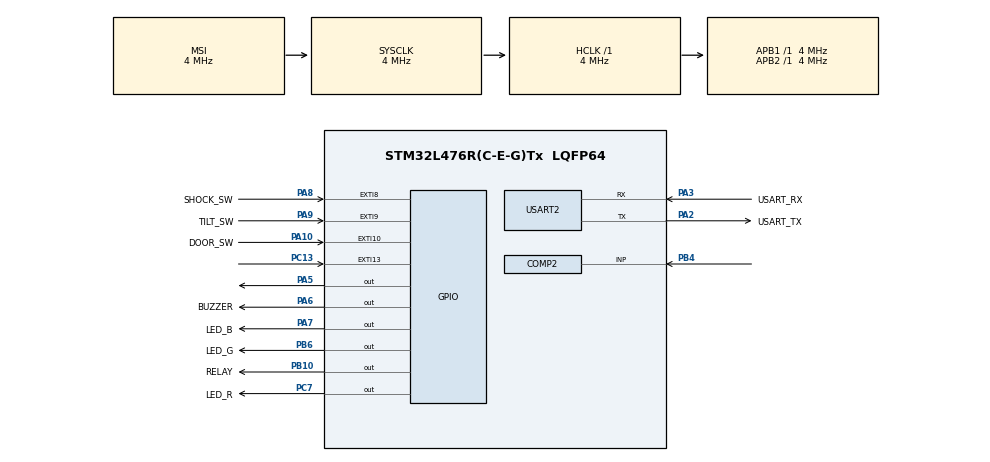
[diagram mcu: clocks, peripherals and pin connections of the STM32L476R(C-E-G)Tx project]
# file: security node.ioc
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COMP2.Hysteresis=COMP_HYSTERESIS_HIGH
COMP2.Mode=COMP_POWERMODE_ULTRALOWPOWER
COMP2.TriggerMode=COMP_TRIGGERMODE_IT_RISING_FALLING
FREERTOS.Mutexes01=uartMutex,Dynamic,NULL,Available
FREERTOS.Queues01=sensorQueue,16,uint8_t,0,Dynamic,NULL,NULL;alarmQueue,16,uint8_t,0,Dynamic,NULL,NULL
FREERTOS.Tasks01=sensorTask,24,512,StartSensorTask,Default,NULL,Dynamic,NULL,NULL;alarmTask,32,512,StartAlarmTask,Default,NULL,Dynamic,NULL,NULL;outputTask,8,256,StartOutputTask,Default,NULL,Dynamic,NULL,NULL;wdgTask,40,256,StartWdgTask,Default,NULL,Dynamic,NULL,NULL
FREERTOS.Timers01=entryTimer,EntryTimerCallback,osTimerOnce,Default,NULL,Dynamic,NULL
FREERTOS.configTOTAL_HEAP_SIZE=15360
FREERTOS.configUSE_NEWLIB_REENTRANT=1
FREERTOS.configUSE_TASK_NOTIFICATIONS=1
FREERTOS.configUSE_TICKLESS_IDLE=2
IWDG.Prescaler=IWDG_PRESCALER_64
Mcu.Family=STM32L4
Mcu.Name=STM32L476R(C-E-G)Tx
Mcu.Package=LQFP64
NUCLEO-L476RG.BUTTON=1
NUCLEO-L476RG.LD2=true
NVIC.COMP_IRQn=true\:5\:0\:false\:false\:true\:true\:false\:true\:true
NVIC.EXTI15_10_IRQn=true\:5\:0\:false\:false\:true\:true\:false\:true\:true
NVIC.EXTI9_5_IRQn=true\:5\:0\:false\:false\:true\:true\:true\:true\:true
NVIC.LPTIM1_IRQn=true\:5\:0\:false\:false\:true\:true\:true\:true\:true
NVIC.PriorityGroup=NVIC_PRIORITYGROUP_4
NVIC.TIM6_DAC_IRQn=true\:15\:0\:false\:false\:true\:false\:false\:true\:true
NVIC.TimeBase=TIM6_DAC_IRQn
NVIC.TimeBaseIP=TIM6
NVIC.USART2_IRQn=true\:5\:0\:false\:false\:true\:true\:true\:true\:true
PA10.GPIO_Label=DOOR_SW
PA10.GPIO_ModeDefaultEXTI=GPIO_MODE_IT_RISING_FALLING
PA10.GPIO_PuPd=GPIO_PULLUP
PA10.Signal=GPXTI10
PA13\ (JTMS-SWDIO).GPIO_Label=TMS
PA13\ (JTMS-SWDIO).Signal=SYS_JTMS-SWDIO
PA14\ (JTCK-SWCLK).GPIO_Label=TCK
PA14\ (JTCK-SWCLK).Signal=SYS_JTCK-SWCLK
PA2.GPIO_Label=USART_TX
PA2.GPIO_Mode=GPIO_MODE_AF_PP
PA2.GPIO_PuPd=GPIO_NOPULL
PA2.GPIO_Speed=GPIO_SPEED_FREQ_VERY_HIGH
PA2.Mode=Asynchronous
PA2.Signal=USART2_TX
PA3.GPIO_Label=USART_RX
PA3.GPIO_Mode=GPIO_MODE_AF_PP
PA3.GPIO_PuPd=GPIO_NOPULL
PA3.GPIO_Speed=GPIO_SPEED_FREQ_VERY_HIGH
PA3.Mode=Asynchronous
PA3.Signal=USART2_RX
PA5.Signal=GPIO_Output
PA6.GPIO_Label=BUZZER
PA6.Signal=GPIO_Output
PA7.GPIO_Label=LED_B
PA7.Signal=GPIO_Output
PA8.GPIO_Label=SHOCK_SW
PA8.GPIO_ModeDefaultEXTI=GPIO_MODE_IT_FALLING
PA8.GPIO_PuPd=GPIO_PULLUP
PA8.Signal=GPXTI8
PA9.GPIO_Label=TILT_SW
PA9.GPIO_ModeDefaultEXTI=GPIO_MODE_IT_RISING_FALLING
PA9.GPIO_PuPd=GPIO_PULLUP
PA9.Signal=GPXTI9
PB10.GPIO_Label=RELAY
PB10.Signal=GPIO_Output
PB3\ (JTDO-TRACESWO).GPIO_Label=SWO
PB3\ (JTDO-TRACESWO).Signal=SYS_JTDO-SWO
PB4\ (NJTRST).Mode=INP
PB4\ (NJTRST).Signal=COMP2_INP
PB6.GPIO_Label=LED_G
PB6.Signal=GPIO_Output
PC13.Signal=GPXTI13
PC14-OSC32_IN\ (PC14).Mode=LSE-External-Oscillator
PC14-OSC32_IN\ (PC14).Signal=RCC_OSC32_IN
PC15-OSC32_OUT\ (PC15).Mode=LSE-External-Oscillator
PC15-OSC32_OUT\ (PC15).Signal=RCC_OSC32_OUT
PC7.GPIO_Label=LED_R
PC7.Signal=GPIO_Output
PH0-OSC_IN\ (PH0).Signal=RCC_OSC_IN
PH1-OSC_OUT\ (PH1).Signal=RCC_OSC_OUT
ProjectManager.HeapSize=0x200
ProjectManager.StackSize=0x400
ProjectManager.TargetToolchain=STM32CubeIDE
RCC.ADCFreq_Value=64000000
RCC.AHBFreq_Value=4000000
RCC.APB1Freq_Value=4000000
RCC.APB1TimFreq_Value=4000000
RCC.APB2Freq_Value=4000000
RCC.APB2TimFreq_Value=4000000
RCC.CortexFreq_Value=4000000
RCC.HCLKFreq_Value=4000000
RCC.HSE_VALUE=8000000
RCC.HSI_VALUE=16000000
RCC.LPTIM1CLockSelection=RCC_LPTIM1CLKSOURCE_LSE
RCC.MSI_VALUE=4000000
RCC.PLLN=10
RCC.PLLSourceVirtual=RCC_PLLSOURCE_HSI
RCC.PREFETCH_ENABLE=1
RCC.PWR_Regulator_Voltage_Scale=PWR_REGULATOR_VOLTAGE_SCALE2
RCC.SYSCLKFreq_VALUE=4000000
RCC.USBFreq_Value=64000000
RCC.VCOOutputFreq_Value=160000000
USART2.VirtualMode-Asynchronous=VM_ASYNC
VP_COMP2_VS_VREFINT34.Mode=VREFINT_34
VP_FREERTOS_VS_CMSIS_V2.Mode=CMSIS_V2
VP_IWDG_VS_IWDG.Mode=IWDG_Activate
VP_LPTIM1_VS_LPTIM_counterModeInternalClock.Mode=Counts__internal_clock_event_00
VP_NUCLEO-L476RG_VS_BSP_COMMON.Mode=COMMON
VP_SYS_VS_tim6.Mode=TIM6
board=NUCLEO-L476RG

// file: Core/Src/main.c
/* USER CODE BEGIN Header */
/**
  ******************************************************************************
  * @file           : main.c
  * @brief          : Main program body
  ******************************************************************************
  * @attention
  *
  * Copyright (c) 2026 STMicroelectronics.
  * All rights reserved.
  *
  * This software is licensed under terms that can be found in the LICENSE file
  * in the root directory of this software component.
  * If no LICENSE file comes with this software, it is provided AS-IS.
  *
  ******************************************************************************
  */
/* USER CODE END Header */
#include "main.h"
#include "cmsis_os.h"

/* USER CODE BEGIN Includes */
#include <stdio.h>
#include<string.h>
#include "FreeRTOS.h"
#include "task.h"
/* USER CODE END Includes */

/* USER CODE BEGIN PTD */
typedef enum { EV_DOOR = 1, EV_TRIP, EV_SHOCK, EV_TILT, EV_BUTTON } sensor_event_t;

typedef enum { AE_DOOR_OPEN = 1, AE_DOOR_CLOSED, AE_TRIP_BROKEN, AE_TRIP_OK,
               AE_SHOCK, AE_TILTED, AE_UPRIGHT, AE_BUTTON, AE_ENTRY_TIMEOUT } alarm_event_t;

typedef enum { ST_DISARMED = 0, ST_ARMED, ST_ENTRY_DELAY, ST_ALARM } alarm_state_t;
/* USER CODE END PTD */

/* USER CODE BEGIN PD */
#define ENTRY_DELAY_MS  10000
#define BUZZER_ENABLE 1
#define WDG_SENSOR   (1U << 0)
#define WDG_ALARM    (1U << 1)
#define WDG_OUTPUT   (1U << 2)
#define WDG_ALL      (WDG_SENSOR | WDG_ALARM | WDG_OUTPUT)
#define WDG_TEST_HANG 0     // set to 1 to test: a knock (shock) freezes sensorTask
/* USER CODE END PD */

COMP_HandleTypeDef hcomp2;

IWDG_HandleTypeDef hiwdg;

LPTIM_HandleTypeDef hlptim1;

UART_HandleTypeDef huart2;

/* Definitions for sensorTask */
osThreadId_t sensorTaskHandle;
const osThreadAttr_t sensorTask_attributes = {
  .name = "sensorTask",
  .stack_size = 512 * 4,
  .priority = (osPriority_t) osPriorityNormal,
};
/* Definitions for alarmTask */
osThreadId_t alarmTaskHandle;
const osThreadAttr_t alarmTask_attributes = {
  .name = "alarmTask",
  .stack_size = 512 * 4,
  .priority = (osPriority_t) osPriorityAboveNormal,
};
/* Definitions for outputTask */
osThreadId_t outputTaskHandle;
const osThreadAttr_t outputTask_attributes = {
  .name = "outputTask",
  .stack_size = 256 * 4,
  .priority = (osPriority_t) osPriorityLow,
};
/* Definitions for wdgTask */
osThreadId_t wdgTaskHandle;
const osThreadAttr_t wdgTask_attributes = {
  .name = "wdgTask",
  .stack_size = 256 * 4,
  .priority = (osPriority_t) osPriorityHigh,
};
/* Definitions for sensorQueue */
osMessageQueueId_t sensorQueueHandle;
const osMessageQueueAttr_t sensorQueue_attributes = {
  .name = "sensorQueue"
};
/* Definitions for alarmQueue */
osMessageQueueId_t alarmQueueHandle;
const osMessageQueueAttr_t alarmQueue_attributes = {
  .name = "alarmQueue"
};
/* Definitions for entryTimer */
osTimerId_t entryTimerHandle;
const osTimerAttr_t entryTimer_attributes = {
  .name = "entryTimer"
};
/* Definitions for uartMutex */
osMutexId_t uartMutexHandle;
const osMutexAttr_t uartMutex_attributes = {
  .name = "uartMutex"
};
/* USER CODE BEGIN PV */
volatile alarm_state_t g_state = ST_DISARMED;
osEventFlagsId_t wdgEventsHandle;
/* USER CODE END PV */

void SystemClock_Config(void);
static void MX_GPIO_Init(void);
static void MX_USART2_UART_Init(void);
static void MX_COMP2_Init(void);
static void MX_IWDG_Init(void);
static void MX_LPTIM1_Init(void);
void StartSensorTask(void *argument);
void StartAlarmTask(void *argument);
void StartOutputTask(void *argument);
void StartWdgTask(void *argument);
void EntryTimerCallback(void *argument);

/* USER CODE BEGIN 0 */
static const char *ev_text[] = { "", "Door OPEN", "Door CLOSED", "Tripwire BROKEN", "Tripwire OK",
                                 "Tamper: SHOCK", "Tamper: TILTED", "Tilt: upright",
                                 "Button", "Entry delay expired" };
static const char *state_text[] = { "DISARMED", "ARMED", "ENTRY DELAY (10 s)", "*** ALARM ***" };

static void log_str(const char *s)
{
  osMutexAcquire(uartMutexHandle, osWaitForever);
  HAL_UART_Transmit(&huart2, (uint8_t*)s, strlen(s), 100);
  osMutexRelease(uartMutexHandle);
}

static void post_alarm(uint8_t ev)
{
  osMessageQueuePut(alarmQueueHandle, &ev, 0, 0);
}

static void post_sensor(uint8_t ev)
{
  osMessageQueuePut(sensorQueueHandle, &ev, 0, 0);
}

void HAL_GPIO_EXTI_Callback(uint16_t GPIO_Pin)
{
  if (GPIO_Pin == DOOR_SW_Pin)       post_sensor(EV_DOOR);
  else if (GPIO_Pin == SHOCK_SW_Pin) post_sensor(EV_SHOCK);
  else if (GPIO_Pin == TILT_SW_Pin)  post_sensor(EV_TILT);
  else if (GPIO_Pin == USER_BUTTON_PIN) post_sensor(EV_BUTTON);
}

void HAL_COMP_TriggerCallback(COMP_HandleTypeDef *hcomp)
{
  if (hcomp->Instance == COMP2) post_sensor(EV_TRIP);
}

void BSP_PB_Callback(Button_TypeDef Button)
{
  if (Button == BUTTON_USER) post_sensor(EV_BUTTON);
}
static void set_rgb(int r, int g, int b)
{
  HAL_GPIO_WritePin(LED_R_GPIO_Port, LED_R_Pin, r ? GPIO_PIN_SET : GPIO_PIN_RESET);
  HAL_GPIO_WritePin(LED_G_GPIO_Port, LED_G_Pin, g ? GPIO_PIN_SET : GPIO_PIN_RESET);
  HAL_GPIO_WritePin(LED_B_GPIO_Port, LED_B_Pin, b ? GPIO_PIN_SET : GPIO_PIN_RESET);
}

static void set_buzzer(int on)
{
  HAL_GPIO_WritePin(BUZZER_GPIO_Port, BUZZER_Pin,
                    (on && BUZZER_ENABLE) ? GPIO_PIN_SET : GPIO_PIN_RESET);
}
static void set_relay(int on)
{
  HAL_GPIO_WritePin(RELAY_GPIO_Port, RELAY_Pin, on ? GPIO_PIN_SET : GPIO_PIN_RESET);
}
/* USER CODE END 0 */

int main(void)
{

  /* MCU Configuration--------------------------------------------------------*/

  /* Reset of all peripherals, Initializes the Flash interface and the Systick. */
  HAL_Init();

  /* Configure the system clock */
  SystemClock_Config();

  /* Initialize all configured peripherals */
  MX_GPIO_Init();
  MX_USART2_UART_Init();
  MX_COMP2_Init();
  MX_IWDG_Init();
  MX_LPTIM1_Init();
  /* USER CODE BEGIN 2 */
  HAL_COMP_Start(&hcomp2);
  HAL_UART_Transmit(&huart2, (uint8_t*)"Security node ready\r\n", 21, 100);
  __HAL_DBGMCU_FREEZE_IWDG();   // don't reset while paused in the debugger

   if (__HAL_RCC_GET_FLAG(RCC_FLAG_IWDGRST))
     HAL_UART_Transmit(&huart2, (uint8_t*)"Reset cause: WATCHDOG\r\n", 23, 100);
   else
     HAL_UART_Transmit(&huart2, (uint8_t*)"Reset cause: normal\r\n", 21, 100);
   __HAL_RCC_CLEAR_RESET_FLAGS();
  /* USER CODE END 2 */

  /* Init scheduler */
  osKernelInitialize();
  /* Create the mutex(es) */
  /* creation of uartMutex */
  uartMutexHandle = osMutexNew(&uartMutex_attributes);

  /* Create the timer(s) */
  /* creation of entryTimer */
  entryTimerHandle = osTimerNew(EntryTimerCallback, osTimerOnce, NULL, &entryTimer_attributes);

  /* Create the queue(s) */
  /* creation of sensorQueue */
  sensorQueueHandle = osMessageQueueNew (16, sizeof(uint8_t), &sensorQueue_attributes);

  /* creation of alarmQueue */
  alarmQueueHandle = osMessageQueueNew (16, sizeof(uint8_t), &alarmQueue_attributes);

  /* Create the thread(s) */
  /* creation of sensorTask */
  sensorTaskHandle = osThreadNew(StartSensorTask, NULL, &sensorTask_attributes);

  /* creation of alarmTask */
  alarmTaskHandle = osThreadNew(StartAlarmTask, NULL, &alarmTask_attributes);

  /* creation of outputTask */
  outputTaskHandle = osThreadNew(StartOutputTask, NULL, &outputTask_attributes);

  /* creation of wdgTask */
  wdgTaskHandle = osThreadNew(StartWdgTask, NULL, &wdgTask_attributes);

  /* USER CODE BEGIN RTOS_EVENTS */
  /* add events, ... */wdgEventsHandle = osEventFlagsNew(NULL);
  /* USER CODE END RTOS_EVENTS */

  /* Initialize leds */
  BSP_LED_Init(LED_GREEN);

  /* Initialize USER push-button, will be used to trigger an interrupt each time it's pressed.*/
  BSP_PB_Init(BUTTON_USER, BUTTON_MODE_EXTI);

  /* Start scheduler */
  osKernelStart();

  /* We should never get here as control is now taken by the scheduler */

  /* Infinite loop */
    while (1)
    {

    }
}

void SystemClock_Config(void)
{
  RCC_OscInitTypeDef RCC_OscInitStruct = {0};
  RCC_ClkInitTypeDef RCC_ClkInitStruct = {0};

  /** Configure the main internal regulator output voltage
  */
  if (HAL_PWREx_ControlVoltageScaling(PWR_REGULATOR_VOLTAGE_SCALE2) != HAL_OK)
  {
    Error_Handler();
  }

  /** Configure LSE Drive Capability
  */
  HAL_PWR_EnableBkUpAccess();
  __HAL_RCC_LSEDRIVE_CONFIG(RCC_LSEDRIVE_LOW);

  /** Initializes the RCC Oscillators according to the specified parameters
  * in the RCC_OscInitTypeDef structure.
  */
  RCC_OscInitStruct.OscillatorType = RCC_OSCILLATORTYPE_LSI|RCC_OSCILLATORTYPE_LSE
                              |RCC_OSCILLATORTYPE_MSI;
  RCC_OscInitStruct.LSEState = RCC_LSE_ON;
  RCC_OscInitStruct.LSIState = RCC_LSI_ON;
  RCC_OscInitStruct.MSIState = RCC_MSI_ON;
  RCC_OscInitStruct.MSICalibrationValue = 0;
  RCC_OscInitStruct.MSIClockRange = RCC_MSIRANGE_6;
  RCC_OscInitStruct.PLL.PLLState = RCC_PLL_NONE;
  if (HAL_RCC_OscConfig(&RCC_OscInitStruct) != HAL_OK)
  {
    Error_Handler();
  }

  /** Initializes the CPU, AHB and APB buses clocks
  */
  RCC_ClkInitStruct.ClockType = RCC_CLOCKTYPE_HCLK|RCC_CLOCKTYPE_SYSCLK
                              |RCC_CLOCKTYPE_PCLK1|RCC_CLOCKTYPE_PCLK2;
  RCC_ClkInitStruct.SYSCLKSource = RCC_SYSCLKSOURCE_MSI;
  RCC_ClkInitStruct.AHBCLKDivider = RCC_SYSCLK_DIV1;
  RCC_ClkInitStruct.APB1CLKDivider = RCC_HCLK_DIV1;
  RCC_ClkInitStruct.APB2CLKDivider = RCC_HCLK_DIV1;

  if (HAL_RCC_ClockConfig(&RCC_ClkInitStruct, FLASH_LATENCY_0) != HAL_OK)
  {
    Error_Handler();
  }

  /** Enable MSI Auto calibration
  */
  HAL_RCCEx_EnableMSIPLLMode();
}

static void MX_COMP2_Init(void)
{

  hcomp2.Instance = COMP2;
  hcomp2.Init.InvertingInput = COMP_INPUT_MINUS_3_4VREFINT;
  hcomp2.Init.NonInvertingInput = COMP_INPUT_PLUS_IO1;
  hcomp2.Init.OutputPol = COMP_OUTPUTPOL_NONINVERTED;
  hcomp2.Init.Hysteresis = COMP_HYSTERESIS_HIGH;
  hcomp2.Init.BlankingSrce = COMP_BLANKINGSRC_NONE;
  hcomp2.Init.Mode = COMP_POWERMODE_ULTRALOWPOWER;
  hcomp2.Init.WindowMode = COMP_WINDOWMODE_DISABLE;
  hcomp2.Init.TriggerMode = COMP_TRIGGERMODE_IT_RISING_FALLING;
  if (HAL_COMP_Init(&hcomp2) != HAL_OK)
  {
    Error_Handler();
  }

}

static void MX_IWDG_Init(void)
{

  hiwdg.Instance = IWDG;
  hiwdg.Init.Prescaler = IWDG_PRESCALER_64;
  hiwdg.Init.Window = 4095;
  hiwdg.Init.Reload = 4095;
  if (HAL_IWDG_Init(&hiwdg) != HAL_OK)
  {
    Error_Handler();
  }

}

static void MX_LPTIM1_Init(void)
{

  hlptim1.Instance = LPTIM1;
  hlptim1.Init.Clock.Source = LPTIM_CLOCKSOURCE_APBCLOCK_LPOSC;
  hlptim1.Init.Clock.Prescaler = LPTIM_PRESCALER_DIV1;
  hlptim1.Init.Trigger.Source = LPTIM_TRIGSOURCE_SOFTWARE;
  hlptim1.Init.OutputPolarity = LPTIM_OUTPUTPOLARITY_HIGH;
  hlptim1.Init.UpdateMode = LPTIM_UPDATE_IMMEDIATE;
  hlptim1.Init.CounterSource = LPTIM_COUNTERSOURCE_INTERNAL;
  hlptim1.Init.Input1Source = LPTIM_INPUT1SOURCE_GPIO;
  hlptim1.Init.Input2Source = LPTIM_INPUT2SOURCE_GPIO;
  if (HAL_LPTIM_Init(&hlptim1) != HAL_OK)
  {
    Error_Handler();
  }

}

static void MX_USART2_UART_Init(void)
{

  huart2.Instance = USART2;
  huart2.Init.BaudRate = 115200;
  huart2.Init.WordLength = UART_WORDLENGTH_8B;
  huart2.Init.StopBits = UART_STOPBITS_1;
  huart2.Init.Parity = UART_PARITY_NONE;
  huart2.Init.Mode = UART_MODE_TX_RX;
  huart2.Init.HwFlowCtl = UART_HWCONTROL_NONE;
  huart2.Init.OverSampling = UART_OVERSAMPLING_16;
  huart2.Init.OneBitSampling = UART_ONE_BIT_SAMPLE_DISABLE;
  huart2.AdvancedInit.AdvFeatureInit = UART_ADVFEATURE_NO_INIT;
  if (HAL_UART_Init(&huart2) != HAL_OK)
  {
    Error_Handler();
  }

}

static void MX_GPIO_Init(void)
{
  GPIO_InitTypeDef GPIO_InitStruct = {0};

  /* GPIO Ports Clock Enable */
  __HAL_RCC_GPIOC_CLK_ENABLE();
  __HAL_RCC_GPIOH_CLK_ENABLE();
  __HAL_RCC_GPIOA_CLK_ENABLE();
  __HAL_RCC_GPIOB_CLK_ENABLE();

  /*Configure GPIO pin Output Level */
  HAL_GPIO_WritePin(GPIOA, BUZZER_Pin|LED_B_Pin, GPIO_PIN_RESET);

  /*Configure GPIO pin Output Level */
  HAL_GPIO_WritePin(GPIOB, RELAY_Pin|LED_G_Pin, GPIO_PIN_RESET);

  /*Configure GPIO pin Output Level */
  HAL_GPIO_WritePin(LED_R_GPIO_Port, LED_R_Pin, GPIO_PIN_RESET);

  /*Configure GPIO pins : BUZZER_Pin LED_B_Pin */
  GPIO_InitStruct.Pin = BUZZER_Pin|LED_B_Pin;
  GPIO_InitStruct.Mode = GPIO_MODE_OUTPUT_PP;
  GPIO_InitStruct.Pull = GPIO_NOPULL;
  GPIO_InitStruct.Speed = GPIO_SPEED_FREQ_LOW;
  HAL_GPIO_Init(GPIOA, &GPIO_InitStruct);

  /*Configure GPIO pins : RELAY_Pin LED_G_Pin */
  GPIO_InitStruct.Pin = RELAY_Pin|LED_G_Pin;
  GPIO_InitStruct.Mode = GPIO_MODE_OUTPUT_PP;
  GPIO_InitStruct.Pull = GPIO_NOPULL;
  GPIO_InitStruct.Speed = GPIO_SPEED_FREQ_LOW;
  HAL_GPIO_Init(GPIOB, &GPIO_InitStruct);

  /*Configure GPIO pin : LED_R_Pin */
  GPIO_InitStruct.Pin = LED_R_Pin;
  GPIO_InitStruct.Mode = GPIO_MODE_OUTPUT_PP;
  GPIO_InitStruct.Pull = GPIO_NOPULL;
  GPIO_InitStruct.Speed = GPIO_SPEED_FREQ_LOW;
  HAL_GPIO_Init(LED_R_GPIO_Port, &GPIO_InitStruct);

  /*Configure GPIO pin : SHOCK_SW_Pin */
  GPIO_InitStruct.Pin = SHOCK_SW_Pin;
  GPIO_InitStruct.Mode = GPIO_MODE_IT_FALLING;
  GPIO_InitStruct.Pull = GPIO_PULLUP;
  HAL_GPIO_Init(SHOCK_SW_GPIO_Port, &GPIO_InitStruct);

  /*Configure GPIO pins : TILT_SW_Pin DOOR_SW_Pin */
  GPIO_InitStruct.Pin = TILT_SW_Pin|DOOR_SW_Pin;
  GPIO_InitStruct.Mode = GPIO_MODE_IT_RISING_FALLING;
  GPIO_InitStruct.Pull = GPIO_PULLUP;
  HAL_GPIO_Init(GPIOA, &GPIO_InitStruct);

  /* EXTI interrupt init*/
  HAL_NVIC_SetPriority(EXTI9_5_IRQn, 5, 0);
  HAL_NVIC_EnableIRQ(EXTI9_5_IRQn);

  HAL_NVIC_SetPriority(EXTI15_10_IRQn, 5, 0);
  HAL_NVIC_EnableIRQ(EXTI15_10_IRQn);

}

/* USER CODE BEGIN 4 */
/* ===== STOP2 tickless idle using LPTIM1 (LSE 32.768 kHz) ===== */
#define LPTIM_HZ          32768U
#define MIN_STOP2_TICKS   5U      /* not worth sleeping for < 5 ms        */
#define MAX_STOP2_TICKS   1900U   /* 16-bit LPTIM overflows at ~2 s       */

static uint32_t lptim_read_cnt(void)
{
  /* LPTIM runs on its own clock: read until two reads agree */
  uint32_t a, b;
  do { a = LPTIM1->CNT; b = LPTIM1->CNT; } while (a != b);
  return a;
}

void vPortSuppressTicksAndSleep(TickType_t xExpectedIdleTime)
{
  if (xExpectedIdleTime < MIN_STOP2_TICKS) return;
  if (xExpectedIdleTime > MAX_STOP2_TICKS) xExpectedIdleTime = MAX_STOP2_TICKS;

  /* 1. Stop the RTOS tick */
  SysTick->CTRL &= ~SysTick_CTRL_ENABLE_Msk;

  __disable_irq();
  if (eTaskConfirmSleepModeStatus() == eAbortSleep) {   /* something became ready */
    SysTick->CTRL |= SysTick_CTRL_ENABLE_Msk;
    __enable_irq();
    return;
  }

  /* 2. Arm LPTIM1 to wake us when the next task is due */
  uint32_t counts = (xExpectedIdleTime * LPTIM_HZ) / 1000U;
  HAL_LPTIM_TimeOut_Start_IT(&hlptim1, 0xFFFF, counts);

  /* 3. Deep sleep. Any EXTI (sensors/button), COMP2 or LPTIM1 wakes us */
  HAL_SuspendTick();
  HAL_PWREx_EnterSTOP2Mode(PWR_STOPENTRY_WFI);
  HAL_ResumeTick();            /* we wake up on MSI 4 MHz: no clock restore needed */

  /* 4. Tell FreeRTOS how long we really slept */
  uint32_t slept = (lptim_read_cnt() * 1000U) / LPTIM_HZ;
  HAL_LPTIM_TimeOut_Stop_IT(&hlptim1);
  if (slept > xExpectedIdleTime) slept = xExpectedIdleTime;
  vTaskStepTick(slept);

  /* 5. Restart the RTOS tick; the wake-up interrupt runs right after */
  SysTick->VAL = 0;
  SysTick->CTRL |= SysTick_CTRL_ENABLE_Msk;
  __enable_irq();
}
/* USER CODE END 4 */

void StartSensorTask(void *argument)
{
  /* USER CODE BEGIN 5 */
	  int last_door = -1, last_trip = -1, last_tilt = -1;
	  uint32_t last_shock = 0, last_btn = 0;
	  uint8_t ev;

	  for (;;)
	  {
	    osEventFlagsSet(wdgEventsHandle, WDG_SENSOR);
	    if (osMessageQueueGet(sensorQueueHandle, &ev, NULL, 1000) != osOK) continue;

	    switch (ev)
	    {
	      case EV_DOOR: {
	        osDelay(20);
	        int open = (HAL_GPIO_ReadPin(DOOR_SW_GPIO_Port, DOOR_SW_Pin) == GPIO_PIN_SET);
	        if (open != last_door) { last_door = open; post_alarm(open ? AE_DOOR_OPEN : AE_DOOR_CLOSED); }
	        break;
	      }
	      case EV_TRIP: {
	        osDelay(20);
	        int beam_on = (HAL_COMP_GetOutputLevel(&hcomp2) == COMP_OUTPUT_LEVEL_HIGH);
	        if (beam_on != last_trip) { last_trip = beam_on; post_alarm(beam_on ? AE_TRIP_OK : AE_TRIP_BROKEN); }
	        break;
	      }
	      case EV_SHOCK: {
	#if WDG_TEST_HANG
	        log_str("!!! Simulating sensorTask hang\r\n");
	        for (;;) { }
	#endif
	        if (osKernelGetTickCount() - last_shock > 1000) { last_shock = osKernelGetTickCount(); post_alarm(AE_SHOCK); }
	        break;
	      }
	      case EV_TILT: {
	        osDelay(50);
	        int tilted = (HAL_GPIO_ReadPin(TILT_SW_GPIO_Port, TILT_SW_Pin) == GPIO_PIN_SET);
	        if (tilted != last_tilt) { last_tilt = tilted; post_alarm(tilted ? AE_TILTED : AE_UPRIGHT); }
	        break;
	      }
	      case EV_BUTTON: {
	          if (osKernelGetTickCount() - last_btn > 300) { last_btn = osKernelGetTickCount(); post_alarm(AE_BUTTON); }
	      }
	    }
	  }
  /* USER CODE END 5 */
}

void StartAlarmTask(void *argument)
{
  /* USER CODE BEGIN StartAlarmTask */
	  alarm_state_t state = ST_DISARMED;
	  uint8_t ev;
	  char line[48];

	  log_str(">>> State: DISARMED\r\n");

	  for (;;)
	 	  {
	 	    osEventFlagsSet(wdgEventsHandle, WDG_ALARM);
	 	    if (osMessageQueueGet(alarmQueueHandle, &ev, NULL, 1000) != osOK) continue;
	 	    if (ev < AE_DOOR_OPEN || ev > AE_ENTRY_TIMEOUT) continue;
	    snprintf(line, sizeof line, "[%s] %s\r\n", state_text[state], ev_text[ev]);
	    log_str(line);

	    alarm_state_t next = state;
	    int tamper = (ev == AE_SHOCK || ev == AE_TILTED);

	    switch (state)
	    {
	      case ST_DISARMED:
	        if (ev == AE_BUTTON) next = ST_ARMED;
	        break;

	      case ST_ARMED:
	        if (ev == AE_BUTTON) next = ST_DISARMED;
	        else if (ev == AE_DOOR_OPEN) { osTimerStart(entryTimerHandle, ENTRY_DELAY_MS); next = ST_ENTRY_DELAY; }
	        else if (ev == AE_TRIP_BROKEN || tamper) next = ST_ALARM;
	        break;

	      case ST_ENTRY_DELAY:
	        if (ev == AE_BUTTON) { osTimerStop(entryTimerHandle); next = ST_DISARMED; }
	        else if (ev == AE_ENTRY_TIMEOUT) next = ST_ALARM;
	        else if (tamper) { osTimerStop(entryTimerHandle); next = ST_ALARM; }
	        break;

	      case ST_ALARM:
	        if (ev == AE_BUTTON) next = ST_DISARMED;
	        break;
	    }

	    if (next != state) {
	      state = next;
	      g_state = state;
	      osThreadFlagsSet(outputTaskHandle, 0x01);
	      snprintf(line, sizeof line, ">>> State: %s\r\n", state_text[state]);
	      log_str(line);
	    }
	  }
  /* USER CODE END StartAlarmTask */
}

void StartOutputTask(void *argument)
{
  /* USER CODE BEGIN StartOutputTask */
	int blink = 0, beat = 0;
	  for (;;)
	  {
	    osEventFlagsSet(wdgEventsHandle, WDG_OUTPUT);
	    uint32_t wait = 1000;

	    set_relay(g_state != ST_DISARMED);   // locked unless disarmed

	    switch (g_state)
	    {
	      case ST_DISARMED:    beat ^= 1; set_rgb(0, beat, 0); set_buzzer(0); wait = beat ? 30 : 970; break;
	      case ST_ARMED:       beat ^= 1; set_rgb(0, 0, beat); set_buzzer(0); wait = beat ? 30 : 970; break;
	      case ST_ENTRY_DELAY: blink ^= 1; set_rgb(0, 0, blink); set_buzzer(blink); wait = 250; break;
	      case ST_ALARM:       blink ^= 1; set_rgb(blink, 0, 0); set_buzzer(blink); wait = 100; break;
	    }

	    osThreadFlagsWait(0x01, osFlagsWaitAny, wait);
	  }
  /* USER CODE END StartOutputTask */
}

void StartWdgTask(void *argument)
{
  /* USER CODE BEGIN StartWdgTask */
  /* Infinite loop */
	for (;;)
	  {
	    uint32_t f = osEventFlagsWait(wdgEventsHandle, WDG_ALL, osFlagsWaitAll, 2000);

	    if (!(f & osFlagsError)) {
	      HAL_IWDG_Refresh(&hiwdg);          // everyone checked in: kick the dog
	    } else {
	      char m[48];
	      uint32_t missing = WDG_ALL & ~osEventFlagsGet(wdgEventsHandle);
	      snprintf(m, sizeof m, "WDG: missed check-in, mask 0x%02lX\r\n", missing);
	      log_str(m);                        // no kick: IWDG will reset us
	    }
	  }
  /* USER CODE END StartWdgTask */
}

/* EntryTimerCallback function */
void EntryTimerCallback(void *argument)
{
  /* USER CODE BEGIN EntryTimerCallback */
	post_alarm(AE_ENTRY_TIMEOUT);
  /* USER CODE END EntryTimerCallback */
}

void HAL_TIM_PeriodElapsedCallback(TIM_HandleTypeDef *htim)
{
  if (htim->Instance == TIM6)
  {
    HAL_IncTick();
  }
}

void Error_Handler(void)
{
  __disable_irq();
  while (1)
  {
  }
}
